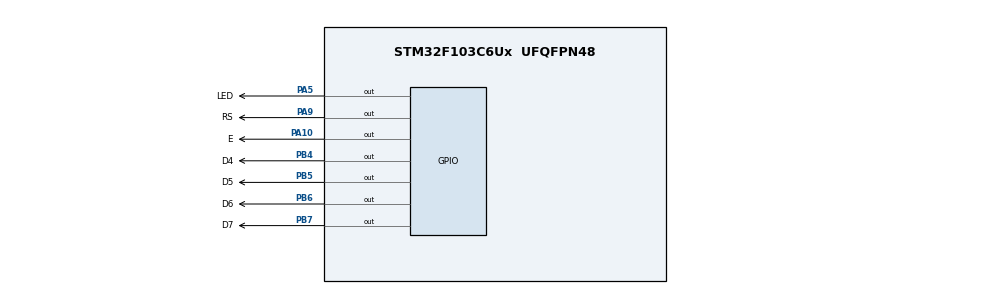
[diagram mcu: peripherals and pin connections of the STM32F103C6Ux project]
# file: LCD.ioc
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Mcu.Family=STM32F1
Mcu.Name=STM32F103C6Ux
Mcu.Package=UFQFPN48
NVIC.PriorityGroup=NVIC_PRIORITYGROUP_4
NVIC.TIM2_IRQn=true\:0\:0\:false\:false\:true\:true\:true
PA10.GPIO_Label=E
PA10.Signal=GPIO_Output
PA5.GPIO_Label=LED
PA5.Signal=GPIO_Output
PA9.GPIO_Label=RS
PA9.Signal=GPIO_Output
PB4.GPIO_Label=D4
PB4.Signal=GPIO_Output
PB5.GPIO_Label=D5
PB5.Signal=GPIO_Output
PB6.GPIO_Label=D6
PB6.Signal=GPIO_Output
PB7.GPIO_Label=D7
PB7.Signal=GPIO_Output
ProjectManager.HeapSize=0x200
ProjectManager.StackSize=0x400
ProjectManager.TargetToolchain=STM32CubeIDE
RCC.APB1Freq_Value=8000000
RCC.APB2Freq_Value=8000000
TIM2.Period=9
TIM2.Prescaler=7999
VP_SYS_VS_ND.Mode=No_Debug
VP_TIM2_VS_ClockSourceINT.Mode=Internal
board=custom

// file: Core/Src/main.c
/* USER CODE BEGIN Header */
/**
  ******************************************************************************
  * @file           : main.c
  * @brief          : Main program body
  ******************************************************************************
  * @attention
  *
  * <h2><center>&copy; Copyright (c) 2026 STMicroelectronics.
  * All rights reserved.</center></h2>
  *
  * This software component is licensed by ST under BSD 3-Clause license,
  * the "License"; You may not use this file except in compliance with the
  * License. You may obtain a copy of the License at:
  *                        opensource.org/licenses/BSD-3-Clause
  *
  ******************************************************************************
  */
/* USER CODE END Header */
#include "main.h"

/* USER CODE BEGIN Includes */
#include <stdio.h>
#include <stdint.h>
/* USER CODE END Includes */

TIM_HandleTypeDef htim2;

void SystemClock_Config(void);
static void MX_GPIO_Init(void);
static void MX_TIM2_Init(void);

int main(void)
{

  /* MCU Configuration--------------------------------------------------------*/

  /* Reset of all peripherals, Initializes the Flash interface and the Systick. */
  HAL_Init();

  /* Configure the system clock */
  SystemClock_Config();

  /* Initialize all configured peripherals */
  MX_GPIO_Init();
  MX_TIM2_Init();
  /* USER CODE BEGIN 2 */
  HAL_TIM_Base_Start_IT(&htim2);
  //delay_init();
  lcd_init(16, 2);
  lcd_clear();
  lcd_goto(0, 0);
  lcd_print("Hello STM32!");
  lcd_goto(0, 1);
  lcd_print("Count: ");
  uint8_t tmp = 0;
  /* USER CODE END 2 */

  /* Infinite loop */
  while (1)
  {

    /* USER CODE BEGIN 3 */
	  lcd_goto(7, 1);
	  char res = tmp + '0';
	  lcd_print(&res);
	  tmp = (tmp+1)%10;
	  HAL_Delay(1000);
  }
  /* USER CODE END 3 */
}

void SystemClock_Config(void)
{
  RCC_OscInitTypeDef RCC_OscInitStruct = {0};
  RCC_ClkInitTypeDef RCC_ClkInitStruct = {0};

  /** Initializes the RCC Oscillators according to the specified parameters
  * in the RCC_OscInitTypeDef structure.
  */
  RCC_OscInitStruct.OscillatorType = RCC_OSCILLATORTYPE_HSI;
  RCC_OscInitStruct.HSIState = RCC_HSI_ON;
  RCC_OscInitStruct.HSICalibrationValue = RCC_HSICALIBRATION_DEFAULT;
  RCC_OscInitStruct.PLL.PLLState = RCC_PLL_NONE;
  if (HAL_RCC_OscConfig(&RCC_OscInitStruct) != HAL_OK)
  {
    Error_Handler();
  }
  /** Initializes the CPU, AHB and APB buses clocks
  */
  RCC_ClkInitStruct.ClockType = RCC_CLOCKTYPE_HCLK|RCC_CLOCKTYPE_SYSCLK
                              |RCC_CLOCKTYPE_PCLK1|RCC_CLOCKTYPE_PCLK2;
  RCC_ClkInitStruct.SYSCLKSource = RCC_SYSCLKSOURCE_HSI;
  RCC_ClkInitStruct.AHBCLKDivider = RCC_SYSCLK_DIV1;
  RCC_ClkInitStruct.APB1CLKDivider = RCC_HCLK_DIV1;
  RCC_ClkInitStruct.APB2CLKDivider = RCC_HCLK_DIV1;

  if (HAL_RCC_ClockConfig(&RCC_ClkInitStruct, FLASH_LATENCY_0) != HAL_OK)
  {
    Error_Handler();
  }
}

static void MX_TIM2_Init(void)
{

  TIM_ClockConfigTypeDef sClockSourceConfig = {0};
  TIM_MasterConfigTypeDef sMasterConfig = {0};

  htim2.Instance = TIM2;
  htim2.Init.Prescaler = 7999;
  htim2.Init.CounterMode = TIM_COUNTERMODE_UP;
  htim2.Init.Period = 9;
  htim2.Init.ClockDivision = TIM_CLOCKDIVISION_DIV1;
  htim2.Init.AutoReloadPreload = TIM_AUTORELOAD_PRELOAD_DISABLE;
  if (HAL_TIM_Base_Init(&htim2) != HAL_OK)
  {
    Error_Handler();
  }
  sClockSourceConfig.ClockSource = TIM_CLOCKSOURCE_INTERNAL;
  if (HAL_TIM_ConfigClockSource(&htim2, &sClockSourceConfig) != HAL_OK)
  {
    Error_Handler();
  }
  sMasterConfig.MasterOutputTrigger = TIM_TRGO_RESET;
  sMasterConfig.MasterSlaveMode = TIM_MASTERSLAVEMODE_DISABLE;
  if (HAL_TIMEx_MasterConfigSynchronization(&htim2, &sMasterConfig) != HAL_OK)
  {
    Error_Handler();
  }

}

static void MX_GPIO_Init(void)
{
  GPIO_InitTypeDef GPIO_InitStruct = {0};

  /* GPIO Ports Clock Enable */
  __HAL_RCC_GPIOA_CLK_ENABLE();
  __HAL_RCC_GPIOB_CLK_ENABLE();

  /*Configure GPIO pin Output Level */
  HAL_GPIO_WritePin(GPIOA, LED_Pin|RS_Pin|E_Pin, GPIO_PIN_RESET);

  /*Configure GPIO pin Output Level */
  HAL_GPIO_WritePin(GPIOB, D4_Pin|D5_Pin|D6_Pin|D7_Pin, GPIO_PIN_RESET);

  /*Configure GPIO pins : LED_Pin RS_Pin E_Pin */
  GPIO_InitStruct.Pin = LED_Pin|RS_Pin|E_Pin;
  GPIO_InitStruct.Mode = GPIO_MODE_OUTPUT_PP;
  GPIO_InitStruct.Pull = GPIO_NOPULL;
  GPIO_InitStruct.Speed = GPIO_SPEED_FREQ_LOW;
  HAL_GPIO_Init(GPIOA, &GPIO_InitStruct);

  /*Configure GPIO pins : D4_Pin D5_Pin D6_Pin D7_Pin */
  GPIO_InitStruct.Pin = D4_Pin|D5_Pin|D6_Pin|D7_Pin;
  GPIO_InitStruct.Mode = GPIO_MODE_OUTPUT_PP;
  GPIO_InitStruct.Pull = GPIO_NOPULL;
  GPIO_InitStruct.Speed = GPIO_SPEED_FREQ_LOW;
  HAL_GPIO_Init(GPIOB, &GPIO_InitStruct);

}

/* USER CODE BEGIN 4 */
int count = 50;
void HAL_TIM_PeriodElapsedCallback(TIM_HandleTypeDef *htim){
	if (htim->Instance == TIM2){
		if (count > 0){
			count--;
			if (count <= 0){
				HAL_GPIO_TogglePin(LED_GPIO_Port,LED_Pin);
				count=50;
			}
		}
	}
}
/* USER CODE END 4 */

void Error_Handler(void)
{
  __disable_irq();
  while (1)
  {
  }
}

/************************ (C) COPYRIGHT STMicroelectronics *****END OF FILE****/
